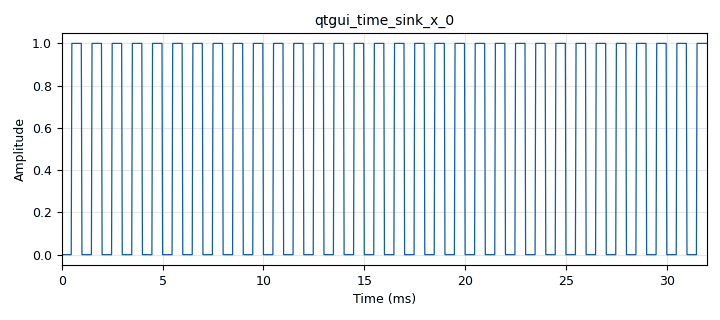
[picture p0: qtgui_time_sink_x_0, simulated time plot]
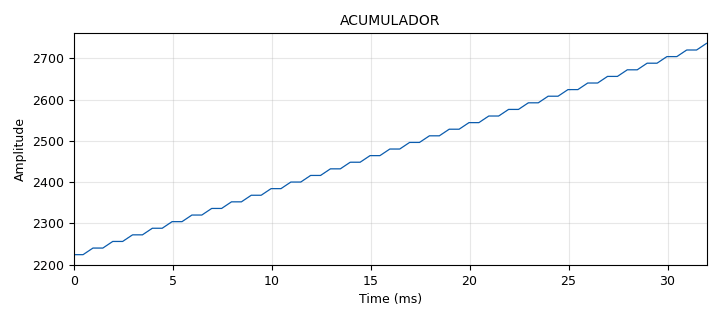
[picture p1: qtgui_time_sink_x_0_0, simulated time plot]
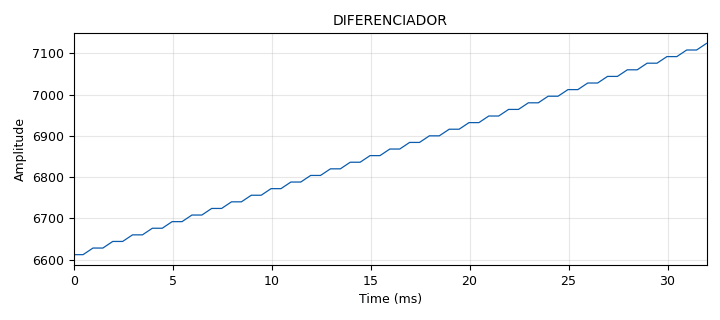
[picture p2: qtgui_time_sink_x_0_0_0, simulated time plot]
options:
  parameters:
    generate_options: qt_gui
    id: Practica_1
    output_language: python
    title: Not titled yet
  states: {}

blocks:
- name: Fm
  id: variable_qtgui_range
  parameters:
    label: Frecuencia mensaje
    start: '0'
    step: '1'
    stop: '10000'
    value: '1000'
  states: {}
- name: samp_rate
  id: variable
  parameters:
    value: '32000'
  states: {}
- name: analog_sig_source_x_0
  id: analog_sig_source_x
  parameters:
    amp: '1'
    freq: '1000'
    offset: '0'
    phase: '0'
    samp_rate: samp_rate
    type: float
    waveform: analog.GR_SQR_WAVE
  states: {}
- name: blocks_throttle_0
  id: blocks_throttle
  parameters:
    samples_per_second: samp_rate
    type: float
  states: {}
- name: blocks_throttle_1
  id: blocks_throttle
  parameters:
    samples_per_second: samp_rate
    type: float
  states: {}
- name: blocks_throttle_1_0
  id: blocks_throttle
  parameters:
    samples_per_second: samp_rate
    type: float
  states: {}
- name: blocks_vector_source_x_0
  id: blocks_vector_source_x
  parameters:
    repeat: 'True'
    type: float
    vector: (0, 1, 2)
  states: {state: disabled}
- name: blocks_vector_source_x_0_0
  id: blocks_vector_source_x
  parameters:
    repeat: 'True'
    type: float
    vector: (3, 5, 20)
  states: {state: disabled}
- name: blocks_vector_source_x_1
  id: blocks_vector_source_x
  parameters:
    repeat: 'True'
    type: float
    vector: (30, 2, 10)
  states: {state: disabled}
- name: epy_block_0
  id: epy_block
  parameters:
    _source_code: "\"\"\"\nEmbedded Python Blocks:\n\nEach time this file is saved, GRC will instantiate the first class it finds\nto get ports and parameters of your block. The arguments to __init__  will\nbe the parameters. All of them are required to have default values!\n\"\"\"\n\nimport numpy as np\nfrom gnuradio import gr\n\n\nclass blk (gr. sync_block ):\n\n    def __init__(self):  # only default arguments here\n        gr.sync_block.__init__(\n            self,\n            name='e_Acum',   # will show up in GRC\n            in_sig=[np.float32],\n            out_sig=[np.float32]\n        )\n\n    def work(self, input_items, output_items):\n        x = input_items[0] #Senial de entrada\n        y0 = output_items[0] #Senial acumulada\n        \n        y0[:] = np.cumsum(x)\n        \n        return len(y0)\n        \n        \n        \n        \n        \n"
  states: {}
- name: epy_block_1
  id: epy_block
  parameters:
    _source_code: |
      """
      Embedded Python Blocks:

      Each time this file is saved, GRC will instantiate the first class it finds
      to get ports and parameters of your block. The arguments to __init__  will
      be the parameters. All of them are required to have default values!
      """

      import numpy as np
      from gnuradio import gr


      class blk (gr. sync_block ):

          def __init__(self):  # only default arguments here
              gr.sync_block.__init__(
                  self,
                  name='e_Diff',   # will show up in GRC
                  in_sig=[np.float32],
                  out_sig=[np.float32]

              )
              self.acum_anterior = 0
          def work(self, input_items, output_items):
              x = input_items[0] #Senial de entrada
              y0 = output_items[0] #Senial acumulada diferencial
              
              N = len(x)
              diff = np.cumsum(x) - self.acum_anterior
              self.acum_anterior = diff[N-1]      
              y0[:] = diff
              
              return len(y0)
  states: {}
- name: epy_block_2
  id: epy_block
  parameters:
    _source_code: "\"\"\"\nEmbedded Python Blocks:\n\nEach time this file is saved, GRC will instantiate the first class it finds\nto get ports and parameters of your block. The arguments to __init__  will\nbe the parameters. All of them are required to have default values!\n\"\"\"\n\nimport numpy as np\nfrom gnuradio import gr\n\n\nclass blk (gr. sync_block ):\n\n    def __init__(self):  # only default arguments here\n        gr.sync_block.__init__(\n            self,\n            name='Promedios_de_tiempo',   # will show up in GRC\n            in_sig=[np.float32],\n            out_sig=[np.float32,np.float32,np.float32,np.float32,np.float32]\n\n        )\n        self.acum_anterior = 0\n        self.Ntotales = 0\n        self.acum_anterior1 = 0\n        self.acum_anterior2 = 0\n        \n        \n    def work(self, input_items, output_items):\n        x = input_items[0] #Senial de entrada\n        y0 = output_items[0] #Promedio de la Senial\n        y1 = output_items[1] #Media de la Senial\n        y2 = output_items[2] #RMS de la senial\n        y3 = output_items[3] #Potencia promedio de la senial\n        y4 = output_items[4] #Desviacion estandar de la senial\n        \n        #Calculo del promedio\n        N = len(x)\n        self.Ntotales = self.Ntotales + N\n        acumulado = self.acum_anterior + np.cumsum(x)\n        self.acum_anterior = acumulado[N-1]\n        y0[:]=acumulado/self.Ntotales\n        \n        #Calculo de la media cuadratica\n        x2 = np.multiply(x,x)\n        acumulado1 = self.acum_anterior1 + np.cumsum(x2)\n        self.acum_anterior1 = acumulado1[N-1]\n        y1[:]=acumulado1/self.Ntotales\n        \n        #Calculo ed la RMS\n        y2[:] = np.sqrt(y1)\n        \n        #Calculo de la potencia promedio\n        y3[:] = np.multiply(y2,y2)\n        \n        #Calculo de la desviacion estandar\n        x3 = np.multiply(x-y0,x-y0)\n        acumulado2 = self.acum_anterior2 + np.cumsum(x3)\n        self.acum_anterior2 = acumulado2[N-1]\n        y4[:] = np.sqrt(acumulado2/self.Ntotales)\n        \n        return len(x)\n        \n    \n  \n"
  states: {}
- name: qtgui_number_sink_0
  id: qtgui_number_sink
  parameters:
    graph_type: qtgui.NUM_GRAPH_HORIZ
    name: Acumulador
    type: float
  states: {}
- name: qtgui_number_sink_0_0
  id: qtgui_number_sink
  parameters:
    graph_type: qtgui.NUM_GRAPH_HORIZ
    name: Diferenciador
    type: float
  states: {}
- name: qtgui_number_sink_1
  id: qtgui_number_sink
  parameters:
    graph_type: qtgui.NUM_GRAPH_HORIZ
    name: MEDIA CUADRATICA
    type: float
  states: {}
- name: qtgui_number_sink_1_0
  id: qtgui_number_sink
  parameters:
    graph_type: qtgui.NUM_GRAPH_HORIZ
    name: RMS
    type: float
  states: {}
- name: qtgui_number_sink_1_1
  id: qtgui_number_sink
  parameters:
    graph_type: qtgui.NUM_GRAPH_HORIZ
    name: DESVIACION ESTANDAR
    type: float
  states: {}
- name: qtgui_number_sink_1_2
  id: qtgui_number_sink
  parameters:
    graph_type: qtgui.NUM_GRAPH_HORIZ
    name: POTENCIA PROMEDIO
    type: float
  states: {}
- name: qtgui_number_sink_1_3
  id: qtgui_number_sink
  parameters:
    graph_type: qtgui.NUM_GRAPH_HORIZ
    name: MEDIA
    type: float
  states: {}
- name: qtgui_time_sink_x_0
  id: qtgui_time_sink_x
  parameters:
    autoscale: 'True'
    size: '1024'
    srate: samp_rate
    type: float
  states: {}
- name: qtgui_time_sink_x_0_0
  id: qtgui_time_sink_x
  parameters:
    autoscale: 'True'
    name: ACUMULADOR
    size: '1024'
    srate: samp_rate
    type: float
  states: {}
- name: qtgui_time_sink_x_0_0_0
  id: qtgui_time_sink_x
  parameters:
    autoscale: 'True'
    name: DIFERENCIADOR
    size: '1024'
    srate: samp_rate
    type: float
  states: {}

connections:
- [analog_sig_source_x_0, '0', blocks_throttle_0, '0']
- [blocks_throttle_0, '0', epy_block_0, '0']
- [blocks_throttle_0, '0', epy_block_1, '0']
- [blocks_throttle_0, '0', epy_block_2, '0']
- [blocks_throttle_0, '0', qtgui_time_sink_x_0, '0']
- [blocks_throttle_1, '0', qtgui_time_sink_x_0_0, '0']
- [blocks_throttle_1_0, '0', qtgui_time_sink_x_0_0_0, '0']
- [blocks_vector_source_x_1, '0', epy_block_0, '0']
- [blocks_vector_source_x_1, '0', epy_block_1, '0']
- [blocks_vector_source_x_1, '0', epy_block_2, '0']
- [epy_block_0, '0', blocks_throttle_1, '0']
- [epy_block_0, '0', qtgui_number_sink_0, '0']
- [epy_block_1, '0', blocks_throttle_1_0, '0']
- [epy_block_1, '0', qtgui_number_sink_0_0, '0']
- [epy_block_2, '0', qtgui_number_sink_1_3, '0']
- [epy_block_2, '1', qtgui_number_sink_1, '0']
- [epy_block_2, '2', qtgui_number_sink_1_0, '0']
- [epy_block_2, '3', qtgui_number_sink_1_2, '0']
- [epy_block_2, '4', qtgui_number_sink_1_1, '0']

metadata:
  file_format: 1
  grc_version: 3.9.8.0
